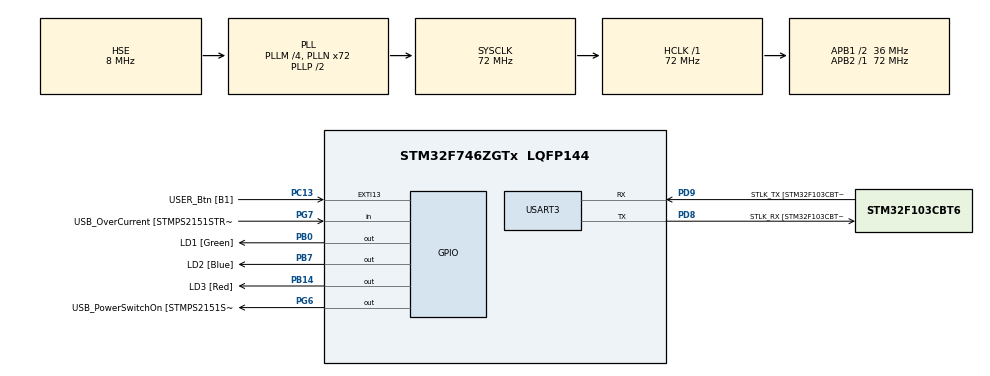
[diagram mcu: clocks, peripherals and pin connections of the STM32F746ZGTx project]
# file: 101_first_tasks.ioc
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FREERTOS.Queues01=myFirstQueue,5,uint8_t,0,Dynamic,NULL,NULL
FREERTOS.Tasks01=defaultTask,0,128,StartDefaultTask,Default,NULL,Dynamic,NULL,NULL;scanButton,-1,128,task_scanButton,Default,NULL,Dynamic,NULL,NULL;setLED,0,128,task_setLED,Default,NULL,Dynamic,NULL,NULL
FREERTOS.configUSE_NEWLIB_REENTRANT=1
Mcu.Family=STM32F7
Mcu.Name=STM32F746ZGTx
Mcu.Package=LQFP144
NVIC.PriorityGroup=NVIC_PRIORITYGROUP_4
NVIC.TIM2_IRQn=true\:0\:0\:false\:false\:true\:false\:true\:true
NVIC.TimeBase=TIM2_IRQn
NVIC.TimeBaseIP=TIM2
PA1.GPIO_Label=RMII_REF_CLK [LAN8742A-CZ-TR_REFCLK0]
PA1.Signal=ETH_REF_CLK
PA10.GPIO_Label=USB_ID
PA10.Signal=USB_OTG_FS_ID
PA11.GPIO_Label=USB_DM
PA11.Signal=USB_OTG_FS_DM
PA12.GPIO_Label=USB_DP
PA12.Signal=USB_OTG_FS_DP
PA13.GPIO_Label=TMS
PA13.Mode=Serial_Wire
PA13.Signal=SYS_JTMS-SWDIO
PA14.GPIO_Label=TCK
PA14.Mode=Serial_Wire
PA14.Signal=SYS_JTCK-SWCLK
PA2.GPIO_Label=RMII_MDIO [LAN8742A-CZ-TR_MDIO]
PA2.Signal=ETH_MDIO
PA7.GPIO_Label=RMII_CRS_DV [LAN8742A-CZ-TR_CRS_DV]
PA7.Signal=ETH_CRS_DV
PA8.GPIO_Label=USB_SOF [TP1]
PA8.Signal=USB_OTG_FS_SOF
PA9.GPIO_Label=USB_VBUS
PA9.Signal=USB_OTG_FS_VBUS
PB0.GPIO_Label=LD1 [Green]
PB0.Signal=GPIO_Output
PB13.GPIO_Label=RMII_TXD1 [LAN8742A-CZ-TR_TXD1]
PB13.Signal=ETH_TXD1
PB14.GPIO_Label=LD3 [Red]
PB14.Signal=GPIO_Output
PB3.GPIO_Label=SW0
PB3.Signal=SYS_JTDO-SWO
PB7.GPIO_Label=LD2 [Blue]
PB7.Signal=GPIO_Output
PC1.GPIO_Label=RMII_MDC [LAN8742A-CZ-TR_MDC]
PC1.Signal=ETH_MDC
PC13.GPIO_Label=USER_Btn [B1]
PC13.Signal=GPXTI13
PC14/OSC32_IN.Mode=LSE-External-Oscillator
PC14/OSC32_IN.Signal=RCC_OSC32_IN
PC15/OSC32_OUT.Mode=LSE-External-Oscillator
PC15/OSC32_OUT.Signal=RCC_OSC32_OUT
PC4.GPIO_Label=RMII_RXD0 [LAN8742A-CZ-TR_RXD0]
PC4.Signal=ETH_RXD0
PC5.GPIO_Label=RMII_RXD1 [LAN8742A-CZ-TR_RXD1]
PC5.Signal=ETH_RXD1
PD8.GPIO_Label=STLK_RX [STM32F103CBT6_PA3]
PD8.Mode=Asynchronous
PD8.Signal=USART3_TX
PD9.GPIO_Label=STLK_TX [STM32F103CBT6_PA2]
PD9.Mode=Asynchronous
PD9.Signal=USART3_RX
PG11.GPIO_Label=RMII_TX_EN [LAN8742A-CZ-TR_TXEN]
PG11.Signal=ETH_TX_EN
PG13.GPIO_Label=RMII_TXD0 [LAN8742A-CZ-TR_TXD0]
PG13.Signal=ETH_TXD0
PG6.GPIO_Label=USB_PowerSwitchOn [STMPS2151STR_EN]
PG6.Signal=GPIO_Output
PG7.GPIO_Label=USB_OverCurrent [STMPS2151STR_FAULT]
PG7.Signal=GPIO_Input
PH0/OSC_IN.GPIO_Label=MCO [STM32F103CBT6_PA8]
PH0/OSC_IN.Mode=HSE-External-Clock-Source
PH0/OSC_IN.Signal=RCC_OSC_IN
PH1/OSC_OUT.Mode=HSE-External-Clock-Source
PH1/OSC_OUT.Signal=RCC_OSC_OUT
ProjectManager.HeapSize=0x200
ProjectManager.StackSize=0x400
ProjectManager.TargetToolchain=STM32CubeIDE
RCC.48MHZClocksFreq_Value=24000000
RCC.AHBFreq_Value=72000000
RCC.APB1CLKDivider=RCC_HCLK_DIV2
RCC.APB1Freq_Value=36000000
RCC.APB1TimFreq_Value=72000000
RCC.APB2Freq_Value=72000000
RCC.APB2TimFreq_Value=72000000
RCC.CortexFreq_Value=72000000
RCC.HCLKFreq_Value=72000000
RCC.HSE_VALUE=8000000
RCC.HSI_VALUE=16000000
RCC.PLLM=4
RCC.PLLMUL=RCC_PLL_MUL9
RCC.PLLN=72
RCC.PLLQ=3
RCC.PLLSourceVirtual=RCC_PLLSOURCE_HSE
RCC.PRESCALERUSB=RCC_USBCLKSOURCE_PLL_DIV1_5
RCC.SYSCLKFreq_VALUE=72000000
RCC.SYSCLKSource=RCC_SYSCLKSOURCE_PLLCLK
RCC.SYSCLKSourceVirtual=RCC_SYSCLKSOURCE_PLLCLK
RCC.USBFreq_Value=48000000
RCC.VCOOutputFreq_Value=144000000
USART3.VirtualMode-Asynchronous=VM_ASYNC
VP_FREERTOS_VS_CMSIS_V1.Mode=CMSIS_V1
VP_SYS_VS_tim2.Mode=TIM2
board=NUCLEO-F746ZG

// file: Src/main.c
/* USER CODE BEGIN Header */
/**
  ******************************************************************************
  * @file           : main.c
  * @brief          : Main program body
  ******************************************************************************
  * @attention
  *
  * <h2><center>&copy; Copyright (c) 2020 STMicroelectronics.
  * All rights reserved.</center></h2>
  *
  * This software component is licensed by ST under Ultimate Liberty license
  * SLA0044, the "License"; You may not use this file except in compliance with
  * the License. You may obtain a copy of the License at:
  *                             www.st.com/SLA0044
  *
  ******************************************************************************
  */
/* USER CODE END Header */
#include "main.h"
#include "cmsis_os.h"

UART_HandleTypeDef huart3;

osThreadId defaultTaskHandle;
osThreadId scanButtonHandle;
osThreadId setLEDHandle;
osMessageQId myFirstQueueHandle;

void SystemClock_Config(void);
static void MX_GPIO_Init(void);
static void MX_USART3_UART_Init(void);
void StartDefaultTask(void const * argument);
void task_scanButton(void const * argument);
void task_setLED(void const * argument);

int main(void)
{

  /* MCU Configuration--------------------------------------------------------*/

  /* Reset of all peripherals, Initializes the Flash interface and the Systick. */
  HAL_Init();

  /* Configure the system clock */
  SystemClock_Config();

  /* Initialize all configured peripherals */
  MX_GPIO_Init();
  MX_USART3_UART_Init();

  /* Create the queue(s) */
  /* definition and creation of myFirstQueue */
  osMessageQDef(myFirstQueue, 5, uint8_t);
  myFirstQueueHandle = osMessageCreate(osMessageQ(myFirstQueue), NULL);

  /* Create the thread(s) */
  /* definition and creation of defaultTask */
  osThreadDef(defaultTask, StartDefaultTask, osPriorityNormal, 0, 128);
  defaultTaskHandle = osThreadCreate(osThread(defaultTask), NULL);

  /* definition and creation of scanButton */
  osThreadDef(scanButton, task_scanButton, osPriorityBelowNormal, 0, 128);
  scanButtonHandle = osThreadCreate(osThread(scanButton), NULL);

  /* definition and creation of setLED */
  osThreadDef(setLED, task_setLED, osPriorityNormal, 0, 128);
  setLEDHandle = osThreadCreate(osThread(setLED), NULL);

  /* Start scheduler */
  osKernelStart();

  /* We should never get here as control is now taken by the scheduler */
  /* Infinite loop */
  while (1)
  {

  }
}

void SystemClock_Config(void)
{
  RCC_OscInitTypeDef RCC_OscInitStruct = {0};
  RCC_ClkInitTypeDef RCC_ClkInitStruct = {0};

  /** Configure LSE Drive Capability
  */
  HAL_PWR_EnableBkUpAccess();
  /** Configure the main internal regulator output voltage
  */
  __HAL_RCC_PWR_CLK_ENABLE();
  __HAL_PWR_VOLTAGESCALING_CONFIG(PWR_REGULATOR_VOLTAGE_SCALE3);
  /** Initializes the RCC Oscillators according to the specified parameters
  * in the RCC_OscInitTypeDef structure.
  */
  RCC_OscInitStruct.OscillatorType = RCC_OSCILLATORTYPE_HSE;
  RCC_OscInitStruct.HSEState = RCC_HSE_BYPASS;
  RCC_OscInitStruct.PLL.PLLState = RCC_PLL_ON;
  RCC_OscInitStruct.PLL.PLLSource = RCC_PLLSOURCE_HSE;
  RCC_OscInitStruct.PLL.PLLM = 4;
  RCC_OscInitStruct.PLL.PLLN = 72;
  RCC_OscInitStruct.PLL.PLLP = RCC_PLLP_DIV2;
  RCC_OscInitStruct.PLL.PLLQ = 3;
  if (HAL_RCC_OscConfig(&RCC_OscInitStruct) != HAL_OK)
  {
    Error_Handler();
  }
  /** Initializes the CPU, AHB and APB buses clocks
  */
  RCC_ClkInitStruct.ClockType = RCC_CLOCKTYPE_HCLK|RCC_CLOCKTYPE_SYSCLK
                              |RCC_CLOCKTYPE_PCLK1|RCC_CLOCKTYPE_PCLK2;
  RCC_ClkInitStruct.SYSCLKSource = RCC_SYSCLKSOURCE_PLLCLK;
  RCC_ClkInitStruct.AHBCLKDivider = RCC_SYSCLK_DIV1;
  RCC_ClkInitStruct.APB1CLKDivider = RCC_HCLK_DIV2;
  RCC_ClkInitStruct.APB2CLKDivider = RCC_HCLK_DIV1;

  if (HAL_RCC_ClockConfig(&RCC_ClkInitStruct, FLASH_LATENCY_2) != HAL_OK)
  {
    Error_Handler();
  }
}

static void MX_USART3_UART_Init(void)
{

  huart3.Instance = USART3;
  huart3.Init.BaudRate = 115200;
  huart3.Init.WordLength = UART_WORDLENGTH_8B;
  huart3.Init.StopBits = UART_STOPBITS_1;
  huart3.Init.Parity = UART_PARITY_NONE;
  huart3.Init.Mode = UART_MODE_TX_RX;
  huart3.Init.HwFlowCtl = UART_HWCONTROL_NONE;
  huart3.Init.OverSampling = UART_OVERSAMPLING_16;
  huart3.Init.OneBitSampling = UART_ONE_BIT_SAMPLE_DISABLE;
  huart3.AdvancedInit.AdvFeatureInit = UART_ADVFEATURE_NO_INIT;
  if (HAL_UART_Init(&huart3) != HAL_OK)
  {
    Error_Handler();
  }

}

static void MX_GPIO_Init(void)
{
  GPIO_InitTypeDef GPIO_InitStruct = {0};

  /* GPIO Ports Clock Enable */
  __HAL_RCC_GPIOC_CLK_ENABLE();
  __HAL_RCC_GPIOH_CLK_ENABLE();
  __HAL_RCC_GPIOA_CLK_ENABLE();
  __HAL_RCC_GPIOB_CLK_ENABLE();
  __HAL_RCC_GPIOD_CLK_ENABLE();
  __HAL_RCC_GPIOG_CLK_ENABLE();

  /*Configure GPIO pin Output Level */
  HAL_GPIO_WritePin(GPIOB, LD1_Pin|LD3_Pin|LD2_Pin, GPIO_PIN_RESET);

  /*Configure GPIO pin Output Level */
  HAL_GPIO_WritePin(USB_PowerSwitchOn_GPIO_Port, USB_PowerSwitchOn_Pin, GPIO_PIN_RESET);

  /*Configure GPIO pin : USER_Btn_Pin */
  GPIO_InitStruct.Pin = USER_Btn_Pin;
  GPIO_InitStruct.Mode = GPIO_MODE_IT_RISING;
  GPIO_InitStruct.Pull = GPIO_NOPULL;
  HAL_GPIO_Init(USER_Btn_GPIO_Port, &GPIO_InitStruct);

  /*Configure GPIO pins : RMII_MDC_Pin RMII_RXD0_Pin RMII_RXD1_Pin */
  GPIO_InitStruct.Pin = RMII_MDC_Pin|RMII_RXD0_Pin|RMII_RXD1_Pin;
  GPIO_InitStruct.Mode = GPIO_MODE_AF_PP;
  GPIO_InitStruct.Pull = GPIO_NOPULL;
  GPIO_InitStruct.Speed = GPIO_SPEED_FREQ_VERY_HIGH;
  GPIO_InitStruct.Alternate = GPIO_AF11_ETH;
  HAL_GPIO_Init(GPIOC, &GPIO_InitStruct);

  /*Configure GPIO pins : RMII_REF_CLK_Pin RMII_MDIO_Pin RMII_CRS_DV_Pin */
  GPIO_InitStruct.Pin = RMII_REF_CLK_Pin|RMII_MDIO_Pin|RMII_CRS_DV_Pin;
  GPIO_InitStruct.Mode = GPIO_MODE_AF_PP;
  GPIO_InitStruct.Pull = GPIO_NOPULL;
  GPIO_InitStruct.Speed = GPIO_SPEED_FREQ_VERY_HIGH;
  GPIO_InitStruct.Alternate = GPIO_AF11_ETH;
  HAL_GPIO_Init(GPIOA, &GPIO_InitStruct);

  /*Configure GPIO pins : LD1_Pin LD3_Pin LD2_Pin */
  GPIO_InitStruct.Pin = LD1_Pin|LD3_Pin|LD2_Pin;
  GPIO_InitStruct.Mode = GPIO_MODE_OUTPUT_PP;
  GPIO_InitStruct.Pull = GPIO_NOPULL;
  GPIO_InitStruct.Speed = GPIO_SPEED_FREQ_LOW;
  HAL_GPIO_Init(GPIOB, &GPIO_InitStruct);

  /*Configure GPIO pin : RMII_TXD1_Pin */
  GPIO_InitStruct.Pin = RMII_TXD1_Pin;
  GPIO_InitStruct.Mode = GPIO_MODE_AF_PP;
  GPIO_InitStruct.Pull = GPIO_NOPULL;
  GPIO_InitStruct.Speed = GPIO_SPEED_FREQ_VERY_HIGH;
  GPIO_InitStruct.Alternate = GPIO_AF11_ETH;
  HAL_GPIO_Init(RMII_TXD1_GPIO_Port, &GPIO_InitStruct);

  /*Configure GPIO pin : USB_PowerSwitchOn_Pin */
  GPIO_InitStruct.Pin = USB_PowerSwitchOn_Pin;
  GPIO_InitStruct.Mode = GPIO_MODE_OUTPUT_PP;
  GPIO_InitStruct.Pull = GPIO_NOPULL;
  GPIO_InitStruct.Speed = GPIO_SPEED_FREQ_LOW;
  HAL_GPIO_Init(USB_PowerSwitchOn_GPIO_Port, &GPIO_InitStruct);

  /*Configure GPIO pin : USB_OverCurrent_Pin */
  GPIO_InitStruct.Pin = USB_OverCurrent_Pin;
  GPIO_InitStruct.Mode = GPIO_MODE_INPUT;
  GPIO_InitStruct.Pull = GPIO_NOPULL;
  HAL_GPIO_Init(USB_OverCurrent_GPIO_Port, &GPIO_InitStruct);

  /*Configure GPIO pins : USB_SOF_Pin USB_ID_Pin USB_DM_Pin USB_DP_Pin */
  GPIO_InitStruct.Pin = USB_SOF_Pin|USB_ID_Pin|USB_DM_Pin|USB_DP_Pin;
  GPIO_InitStruct.Mode = GPIO_MODE_AF_PP;
  GPIO_InitStruct.Pull = GPIO_NOPULL;
  GPIO_InitStruct.Speed = GPIO_SPEED_FREQ_VERY_HIGH;
  GPIO_InitStruct.Alternate = GPIO_AF10_OTG_FS;
  HAL_GPIO_Init(GPIOA, &GPIO_InitStruct);

  /*Configure GPIO pin : USB_VBUS_Pin */
  GPIO_InitStruct.Pin = USB_VBUS_Pin;
  GPIO_InitStruct.Mode = GPIO_MODE_INPUT;
  GPIO_InitStruct.Pull = GPIO_NOPULL;
  HAL_GPIO_Init(USB_VBUS_GPIO_Port, &GPIO_InitStruct);

  /*Configure GPIO pins : RMII_TX_EN_Pin RMII_TXD0_Pin */
  GPIO_InitStruct.Pin = RMII_TX_EN_Pin|RMII_TXD0_Pin;
  GPIO_InitStruct.Mode = GPIO_MODE_AF_PP;
  GPIO_InitStruct.Pull = GPIO_NOPULL;
  GPIO_InitStruct.Speed = GPIO_SPEED_FREQ_VERY_HIGH;
  GPIO_InitStruct.Alternate = GPIO_AF11_ETH;
  HAL_GPIO_Init(GPIOG, &GPIO_InitStruct);

}

void StartDefaultTask(void const * argument)
{
  /* USER CODE BEGIN 5 */
  /* Infinite loop */
  for(;;)
  {
    // Keep alive indicator
    HAL_GPIO_TogglePin(GPIOB, GPIO_PIN_7);
    osDelay(500); // or use vTaskDelay( 500 / portTICK_PERIOD_MS );
  }
  /* USER CODE END 5 */
}

void task_scanButton(void const * argument)
{
  /* USER CODE BEGIN task_scanButton */
  GPIO_PinState old = GPIO_PIN_RESET;
  /* Infinite loop */
  for(;;)
  {
    GPIO_PinState b = HAL_GPIO_ReadPin(GPIOC, GPIO_PIN_13);
    if (b!=old) {
        uint8_t message = b; // must be the same type size as the type size used for queue declaration
        xQueueSend(myFirstQueueHandle, &message, 1 / portTICK_PERIOD_MS );
        old=b;
    }
    osDelay(10); // or use vTaskDelay( 10 / portTICK_PERIOD_MS );
  }
  /* USER CODE END task_scanButton */
}

void task_setLED(void const * argument)
{
  /* USER CODE BEGIN task_setLED */
  /* Infinite loop */
  for(;;)
  {
    uint8_t message; // must be the same type size as the type size used for queue declaration
    BaseType_t status = xQueueReceive(myFirstQueueHandle, &message, 1000 / portTICK_PERIOD_MS );
    if (status) {
      if (message)
        HAL_GPIO_WritePin(GPIOB, GPIO_PIN_0, GPIO_PIN_SET);
      else
        HAL_GPIO_WritePin(GPIOB, GPIO_PIN_0, GPIO_PIN_RESET);
    } else {
      // e.g. power off on no information received over long period of time
      HAL_GPIO_WritePin(GPIOB, GPIO_PIN_0, GPIO_PIN_RESET);
    }
  }
  /* USER CODE END task_setLED */
}

void HAL_TIM_PeriodElapsedCallback(TIM_HandleTypeDef *htim)
{
  if (htim->Instance == TIM2) {
    HAL_IncTick();
  }
}

void Error_Handler(void)
{
}
